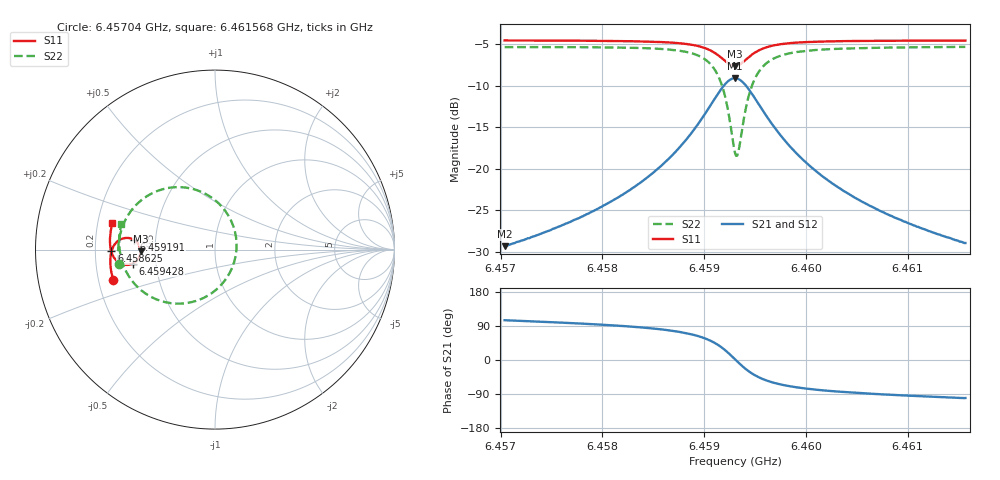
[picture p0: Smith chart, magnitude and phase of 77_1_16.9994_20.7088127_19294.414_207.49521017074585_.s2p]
#  HZ  S  RI  R  50.00
! Rohde & Schwarz Vector Network Analyzer
! Rohde-Schwarz,ZNB20-2Port,1311601062101988,3.16
! Created: UTC 3/20/2024, 10:55:27 PM
! freq[Hz]  re:S11  im:S11  re:S21  im:S21  re:S12  im:S12  re:S22  im:S22
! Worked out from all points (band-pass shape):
!   401 points, 6.45704 GHz to 6.461568 GHz, reference 50 ohm
!   highest |S21| = -9.10 dB at 6.459304 GHz (marker M1); lowest = -29.3 dB at 6.45704 GHz (marker M2)
!   |S21| within 3 dB of the highest: 6.459077 GHz to 6.45953 GHz (453.1 kHz wide, 0.00701 % of centre)
!   lowest |S11| = -7.6 dB at 6.459304 GHz (marker M3), VSWR 2.42, Z = 20.7 - j0.525 ohm
!   |S11| at or under -10 dB: nowhere
!   |S22| runs from -18.5 to -5.3 dB; largest |S21 - S12| = 0.014
!   S11 on the Smith chart (normalised r, x): 6.45704 GHz: 0.26, -0.14; 6.458625 GHz: 0.27, -0.01; 6.459191 GHz: 0.38, +0.05; 6.459428 GHz: 0.37, -0.07; 6.461568 GHz: 0.26, +0.12
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6.4570401e9  -0.5674 -0.1688  -0.0088 0.033  -0.00692 0.0329  -0.5344 -0.0784
6.4577984e9  -0.5809 -0.1021  -0.00529 0.0512  -0.00284 0.0507  -0.5387 0.0113
6.4582059e9  -0.5835 -0.0611  0.000418 0.0702  0.00378 0.0689  -0.5303 0.0765
6.4585568e9  -0.5794 -0.0187  0.0149 0.1002  0.019 0.0973  -0.5034 0.1564
6.4586247e9  -0.577 -0.00927  0.0205 0.1088  0.0246 0.1054  -0.4933 0.1766
6.4588171e9  -0.5642 0.0212  0.0476 0.14  0.0517 0.135  -0.4423 0.246
6.4589643e9  -0.541 0.0476  0.0936 0.1707  0.0969 0.164  -0.3571 0.3105
6.4591001e9  -0.4964 0.0649  0.1825 0.1871  0.1833 0.1797  -0.195 0.3479
6.4591907e9  -0.4509 0.0542  0.2736 0.1547  0.2739 0.149  -0.0265 0.295
6.4592586e9  -0.4216 0.0212  0.3345 0.0812  0.3368 0.0759  0.0891 0.1621
6.4593038e9  -0.4147 -0.0105  0.3506 0.0119  0.3544 0.00504  0.1202 0.0328
6.4593378e9  -0.4189 -0.0346  0.3443 -0.0412  0.3482 -0.0504  0.1073 -0.0677
6.4593831e9  -0.4349 -0.0611  0.3147 -0.1016  0.317 -0.1137  0.0474 -0.1816
6.4594284e9  -0.4573 -0.0777  0.2718 -0.1428  0.271 -0.1563  -0.0396 -0.2564
6.4595189e9  -0.5013 -0.0847  0.1858 -0.1737  0.1796 -0.1854  -0.2108 -0.3011
6.4595868e9  -0.526 -0.0773  0.1369 -0.1713  0.1287 -0.1803  -0.3049 -0.2851
6.459666e9  -0.5459 -0.0641  0.0968 -0.1591  0.0883 -0.1654  -0.3795 -0.2499
6.4598245e9  -0.5678 -0.0365  0.0517 -0.1306  0.044 -0.1334  -0.4602 -0.1766
6.4600622e9  -0.5806 -0.000864  0.0223 -0.0985  0.0164 -0.0991  -0.5078 -0.0934
6.4604131e9  -0.5855 0.0411  0.00596 -0.0708  0.00184 -0.0702  -0.5297 -0.0119
6.4608206e9  -0.5837 0.0822  -0.00142 -0.0525  -0.00442 -0.0516  -0.5333 0.0542
6.4615676e9  -0.5719 0.1486  -0.00639 -0.0351  -0.00834 -0.0342  -0.5221 0.1433
